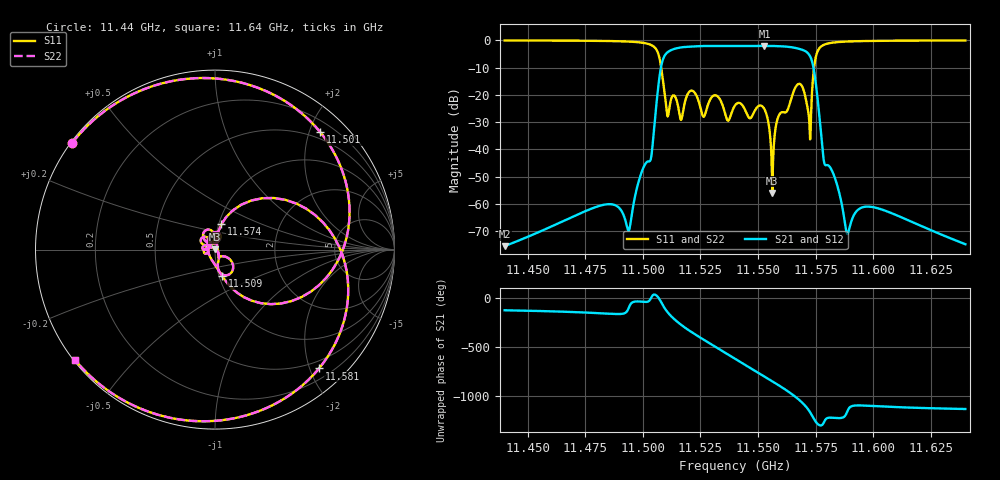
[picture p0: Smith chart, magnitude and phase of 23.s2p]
! This file was generated by CST Filter Designer 3D
! Date:  06.11.2025 15:50:54
# MHZ S RI R 50
!  Frequency  Re(S11)  Im(S11)  Re(S21)  Im(S21)  Re(S12)  Im(S12)  Re(S22)  Im(S22)
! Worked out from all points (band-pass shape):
!   1001 points, 11.44 GHz to 11.64 GHz, reference 50 ohm
!   highest |S21| = -2.07 dB at 11.553 GHz (marker M1); lowest = -75.5 dB at 11.44 GHz (marker M2)
!   |S21| within 3 dB of the highest: 11.51 GHz to 11.572 GHz (62.05 MHz wide, 0.538 % of centre)
!   lowest |S11| = -56.0 dB at 11.556 GHz (marker M3), VSWR 1.00, Z = 50.1 + j0.122 ohm
!   |S11| at or under -10 dB: 11.508 GHz to 11.574 GHz (66.35 MHz wide, 0.575 % of centre)
!   |S22| runs from -56.0 to -0.1 dB; largest |S21 - S12| = 0
!   S11 on the Smith chart (normalised r, x): 11.44 GHz: 0.00, +0.33; 11.501 GHz: 0.38, +2.19; 11.509 GHz: 1.03, -0.31; 11.574 GHz: 1.03, +0.30; 11.581 GHz: 0.37, -2.15; 11.64 GHz: 0.00, -0.35
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11440  -0.7948 0.596  -0.000105 -0.000131  -0.000105 -0.000131  -0.7948 0.596
11473.4  -0.5187 0.8347  -0.000596 -0.000344  -0.000596 -0.000344  -0.5187 0.8347
11493.8  0.0792 0.9441  -0.000106 -0.000306  -0.000106 -0.000306  0.0792 0.9441
11501.4  0.5867 0.6539  0.00407 -0.00394  0.00407 -0.00394  0.5867 0.6539
11506.8  0.4839 -0.2636  0.1541 -0.00474  0.1541 -0.00474  0.4839 -0.2636
11509  0.0392 -0.1459  -0.000562 -0.4775  -0.000562 -0.4775  0.0392 -0.1459
11512.4  -0.0235 0.0837  -0.6515 0.1295  -0.6515 0.1295  -0.0235 0.0837
11516.6  -0.00691 0.034  0.0747 0.737  0.0747 0.737  -0.00691 0.034
11522.2  -0.0272 0.1102  0.7684 -0.0756  0.7684 -0.0756  -0.0272 0.1102
11528.8  -0.0688 0.0306  -0.1509 -0.7712  -0.1509 -0.7712  -0.0688 0.0306
11540  -0.064 0.000136  -0.134 0.7732  -0.134 0.7732  -0.064 0.000136
11546.6  -0.0371 -0.00352  0.7837 0.0801  0.7837 0.0801  -0.0371 -0.00352
11552.8  -0.0543 0.00325  0.1195 -0.7792  0.1195 -0.7792  -0.0543 0.00325
11556.2  0.00103 0.00122  -0.4978 -0.6087  -0.4978 -0.6087  0.00103 0.00122
11565  0.0855 -0.0572  -0.0701 0.7375  -0.0701 0.7375  0.0855 -0.0572
11569.6  0.0265 -0.126  0.6582 0.0523  0.6582 0.0523  0.0265 -0.126
11573.4  0.0202 0.1038  -0.1698 -0.3805  -0.1698 -0.3805  0.0202 0.1038
11573.6  0.0361 0.1416  -0.2076 -0.3277  -0.2076 -0.3277  0.0361 0.1416
11580.6  0.5796 -0.6618  -0.00378 -0.00336  -0.00378 -0.00336  0.5796 -0.6618
11588.8  0.0501 -0.949  8.73e-05 -0.000267  8.73e-05 -0.000267  0.0501 -0.949
11606.8  -0.4831 -0.8542  0.00063 -0.000325  0.00063 -0.000325  -0.4831 -0.8542
11640  -0.7816 -0.6125  0.000118 -0.000139  0.000118 -0.000139  -0.7816 -0.6125
